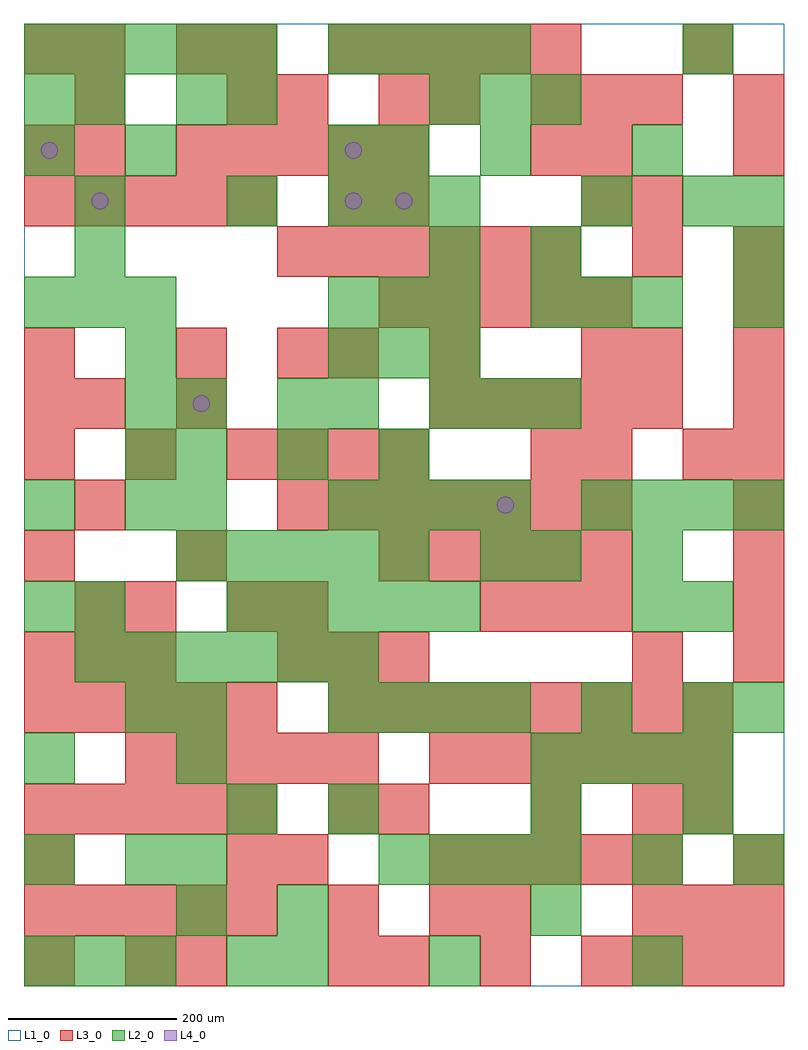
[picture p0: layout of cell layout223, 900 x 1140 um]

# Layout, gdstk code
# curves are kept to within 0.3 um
import gdstk
lib = gdstk.Library(unit=1e-6, precision=1e-09)
def R(c, l, rs):  # rectangles x0, y0, x1, y1
    for r in rs: c.add(gdstk.rectangle(r[:2], r[2:], *l))
def A(c, l, x, y, w, h, nx, ny, dx, dy):  # array of equal rectangles
    R(c, l, [(x+i*dx, y+j*dy, x+i*dx+w, y+j*dy+h) for i in range(nx) for j in range(ny)])
def P(c, l, *ps):  # polygons
    for p in ps: c.add(gdstk.Polygon(p, *l))
L1_0 = (1, 0)
L2_0 = (2, 0)
L3_0 = (3, 0)
L4_0 = (4, 0)

layout223 = lib.new_cell('layout223')
R(layout223, L1_0, [(0,0,900,1140)])
A(layout223, L2_0, 0, 0, 60, 60, 3, 2, 60, 780)
A(layout223, L2_0, 420, 120, 60, 60, 4, 1, 60, 0)
A(layout223, L2_0, 780, 180, 60, 60, 1, 3, 0, 120)
A(layout223, L2_0, 600, 240, 60, 60, 4, 1, 60, 0)
A(layout223, L2_0, 360, 300, 60, 60, 4, 2, 60, 240)
A(layout223, L2_0, 60, 360, 60, 60, 6, 1, 60, 0)
A(layout223, L2_0, 240, 420, 60, 60, 5, 1, 60, 0)
A(layout223, L2_0, 180, 480, 60, 60, 5, 1, 60, 0)
A(layout223, L2_0, 120, 540, 60, 60, 1, 4, 0, 60)
A(layout223, L2_0, 660, 540, 60, 60, 4, 1, 60, 0)
A(layout223, L2_0, 180, 600, 60, 60, 3, 1, 120, 0)
A(layout223, L2_0, 480, 660, 60, 60, 3, 2, 60, 360)
A(layout223, L2_0, 360, 720, 60, 60, 3, 2, 60, 60)
A(layout223, L2_0, 600, 780, 60, 60, 3, 1, 60, 0)
A(layout223, L2_0, 840, 780, 60, 60, 1, 3, 0, 60)
A(layout223, L2_0, 360, 900, 60, 60, 3, 1, 60, 0)
A(layout223, L2_0, 0, 1080, 60, 60, 5, 1, 60, 0)
A(layout223, L2_0, 360, 1080, 60, 60, 4, 1, 60, 0)
R(layout223, L2_0, [(240,0,300,60), (300,0,360,60), (480,0,540,60), (720,0,780,60), (180,60,240,120), (300,60,360,120), (600,60,660,120), (0,120,60,180), (120,120,180,180), (180,120,240,180), (720,120,780,180), (840,120,900,180), (240,180,300,240), (360,180,420,240), (600,180,660,240), (0,240,60,300), (180,240,240,300), (120,300,180,360), (180,300,240,360), (660,300,720,360), (840,300,900,360), (0,420,60,480), (60,420,120,480), (720,420,780,480), (540,480,600,540), (600,480,660,540), (720,480,780,540), (0,540,60,600), (180,540,240,600), (180,660,240,720), (300,660,360,720), (360,660,420,720), (60,840,120,900), (480,840,540,900), (600,840,660,900), (60,900,120,960), (240,900,300,960), (660,900,720,960), (780,900,840,960), (0,960,60,1020), (120,960,180,1020), (360,960,420,1020), (420,960,480,1020), (540,960,600,1020), (720,960,780,1020), (0,1020,60,1080), (60,1020,120,1080), (180,1020,240,1080), (240,1020,300,1080), (780,1080,840,1140)])
A(layout223, L3_0, 420, 0, 60, 60, 3, 1, 120, 0)
A(layout223, L3_0, 720, 0, 60, 60, 3, 2, 60, 60)
A(layout223, L3_0, 0, 60, 60, 60, 5, 3, 60, 120)
A(layout223, L3_0, 300, 120, 60, 60, 1, 4, 0, 300)
A(layout223, L3_0, 480, 120, 60, 60, 5, 2, 60, 540)
A(layout223, L3_0, 120, 240, 60, 60, 5, 1, 60, 0)
A(layout223, L3_0, 480, 240, 60, 60, 6, 1, 60, 0)
A(layout223, L3_0, 360, 300, 60, 60, 8, 1, 60, 0)
A(layout223, L3_0, 0, 360, 60, 60, 3, 1, 60, 0)
A(layout223, L3_0, 300, 360, 60, 60, 3, 2, 60, 240)
A(layout223, L3_0, 840, 360, 60, 60, 1, 9, 0, 60)
A(layout223, L3_0, 60, 420, 60, 60, 1, 3, 0, 120)
A(layout223, L3_0, 540, 420, 60, 60, 3, 1, 60, 0)
A(layout223, L3_0, 420, 480, 60, 60, 5, 2, 60, 300)
A(layout223, L3_0, 300, 540, 60, 60, 7, 1, 60, 0)
A(layout223, L3_0, 0, 600, 60, 60, 3, 1, 120, 0)
A(layout223, L3_0, 300, 840, 60, 60, 6, 1, 60, 0)
A(layout223, L3_0, 0, 900, 60, 60, 5, 1, 60, 0)
A(layout223, L3_0, 60, 960, 60, 60, 1, 3, 0, 60)
A(layout223, L3_0, 180, 960, 60, 60, 5, 1, 60, 0)
A(layout223, L3_0, 600, 1020, 60, 60, 3, 1, 60, 0)
A(layout223, L3_0, 360, 1080, 60, 60, 5, 1, 60, 0)
R(layout223, L3_0, [(0,0,60,60), (120,0,180,60), (180,0,240,60), (360,0,420,60), (360,60,420,120), (480,60,540,120), (540,60,600,120), (0,120,60,180), (240,120,300,180), (840,120,900,180), (360,180,420,240), (420,180,480,240), (600,180,660,240), (720,180,780,240), (780,180,840,240), (720,360,780,420), (120,420,180,480), (240,420,300,480), (0,480,60,540), (180,480,240,540), (600,600,660,660), (660,600,720,660), (780,600,840,660), (0,660,60,720), (180,660,240,720), (0,720,60,780), (180,720,240,780), (360,720,420,780), (480,720,540,780), (660,720,720,780), (720,720,780,780), (720,840,780,900), (360,900,420,960), (420,900,480,960), (660,900,720,960), (720,900,780,960), (0,960,60,1020), (600,960,660,1020), (660,960,720,1020), (840,960,900,1020), (240,1020,300,1080), (420,1020,480,1080), (480,1020,540,1080), (840,1020,900,1080), (0,1080,60,1140), (180,1080,240,1140), (240,1080,300,1140), (780,1080,840,1140)])
P(layout223, L4_0, [(40,990),(39.239,993.827),(37.071,997.071),(33.827,999.239),(30,1000),(26.173,999.239),(22.929,997.071),(20.761,993.827),(20,990),(20.761,986.173),(22.929,982.929),(26.173,980.761),(30,980),(33.827,980.761),(37.071,982.929),(39.239,986.173)],
  [(100,930),(99.239,933.827),(97.071,937.071),(93.827,939.239),(90,940),(86.173,939.239),(82.929,937.071),(80.761,933.827),(80,930),(80.761,926.173),(82.929,922.929),(86.173,920.761),(90,920),(93.827,920.761),(97.071,922.929),(99.239,926.173)],
  [(220,690),(219.239,693.827),(217.071,697.071),(213.827,699.239),(210,700),(206.173,699.239),(202.929,697.071),(200.761,693.827),(200,690),(200.761,686.173),(202.929,682.929),(206.173,680.761),(210,680),(213.827,680.761),(217.071,682.929),(219.239,686.173)],
  [(400,930),(399.239,933.827),(397.071,937.071),(393.827,939.239),(390,940),(386.173,939.239),(382.929,937.071),(380.761,933.827),(380,930),(380.761,926.173),(382.929,922.929),(386.173,920.761),(390,920),(393.827,920.761),(397.071,922.929),(399.239,926.173)],
  [(400,990),(399.239,993.827),(397.071,997.071),(393.827,999.239),(390,1000),(386.173,999.239),(382.929,997.071),(380.761,993.827),(380,990),(380.761,986.173),(382.929,982.929),(386.173,980.761),(390,980),(393.827,980.761),(397.071,982.929),(399.239,986.173)],
  [(460,930),(459.239,933.827),(457.071,937.071),(453.827,939.239),(450,940),(446.173,939.239),(442.929,937.071),(440.761,933.827),(440,930),(440.761,926.173),(442.929,922.929),(446.173,920.761),(450,920),(453.827,920.761),(457.071,922.929),(459.239,926.173)],
  [(580,570),(579.239,573.827),(577.071,577.071),(573.827,579.239),(570,580),(566.173,579.239),(562.929,577.071),(560.761,573.827),(560,570),(560.761,566.173),(562.929,562.929),(566.173,560.761),(570,560),(573.827,560.761),(577.071,562.929),(579.239,566.173)])

lib.write_gds('layout223.gds')
